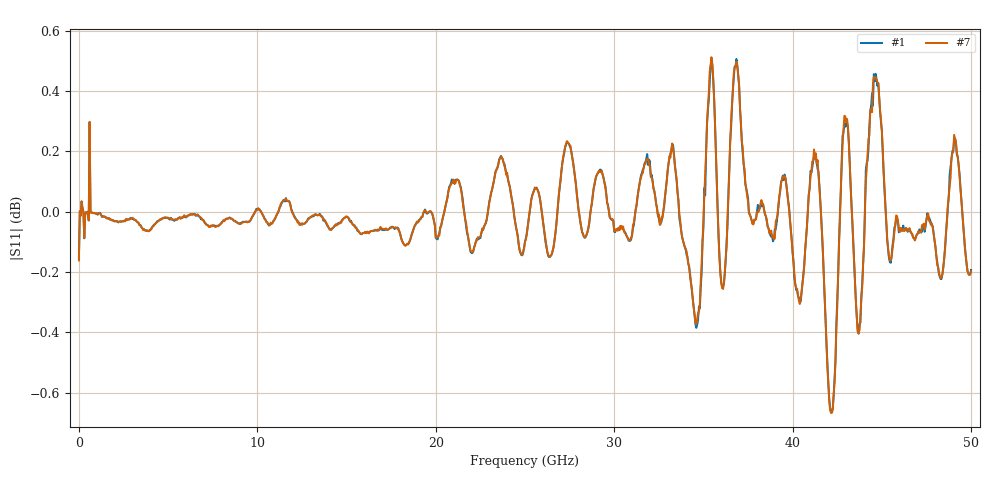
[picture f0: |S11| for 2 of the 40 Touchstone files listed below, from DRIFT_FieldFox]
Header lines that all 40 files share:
!Created with skrf (http://scikit-rf.org).
# Hz S RI R 50.0
!freq ReS11 ImS11
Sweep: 300 kHz to 50 GHz
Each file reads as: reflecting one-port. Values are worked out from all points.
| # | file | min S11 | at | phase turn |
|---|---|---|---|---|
| 1 | DRIFT1_t=53205s.s1p | -0.7 dB | 42.2 GHz | -818 deg |
| 2 | DRIFT1_t=53258s.s1p | -0.7 dB | 42.2 GHz | -818 deg |
| 3 | DRIFT1_t=53311s.s1p | -0.7 dB | 42.2 GHz | -818 deg |
| 4 | DRIFT1_t=53364s.s1p | -0.7 dB | 42.2 GHz | -818 deg |
| 5 | DRIFT1_t=53417s.s1p | -0.7 dB | 42.2 GHz | -818 deg |
| 6 | DRIFT1_t=53470s.s1p | -0.7 dB | 42.2 GHz | -818 deg |
| 7 | DRIFT1_t=53523s.s1p | -0.7 dB | 42.15 GHz | -818 deg |
| 8 | DRIFT1_t=53576s.s1p | -0.7 dB | 42.2 GHz | -818 deg |
| 9 | DRIFT1_t=53629s.s1p | -0.7 dB | 42.2 GHz | -818 deg |
| 10 | DRIFT1_t=53681s.s1p | -0.7 dB | 42.2 GHz | -818 deg |
| 11 | DRIFT1_t=53734s.s1p | -0.7 dB | 42.2 GHz | -818 deg |
| 12 | DRIFT1_t=53787s.s1p | -0.7 dB | 42.15 GHz | -818 deg |
| 13 | DRIFT1_t=53840s.s1p | -0.7 dB | 42.2 GHz | -818 deg |
| 14 | DRIFT1_t=53893s.s1p | -0.7 dB | 42.2 GHz | -818 deg |
| 15 | DRIFT1_t=53946s.s1p | -0.7 dB | 42.15 GHz | -818 deg |
| 16 | DRIFT1_t=53999s.s1p | -0.7 dB | 42.2 GHz | -818 deg |
| 17 | DRIFT1_t=54052s.s1p | -0.7 dB | 42.15 GHz | -818 deg |
| 18 | DRIFT1_t=54105s.s1p | -0.7 dB | 42.2 GHz | -818 deg |
| 19 | DRIFT1_t=54157s.s1p | -0.7 dB | 42.2 GHz | -818 deg |
| 20 | DRIFT1_t=54210s.s1p | -0.7 dB | 42.2 GHz | -818 deg |
| 21 | DRIFT1_t=54263s.s1p | -0.7 dB | 42.2 GHz | -818 deg |
| 22 | DRIFT1_t=54316s.s1p | -0.7 dB | 42.2 GHz | -818 deg |
| 23 | DRIFT1_t=54369s.s1p | -0.7 dB | 42.2 GHz | -818 deg |
| 24 | DRIFT1_t=54422s.s1p | -0.7 dB | 42.15 GHz | -818 deg |
| 25 | DRIFT1_t=54475s.s1p | -0.7 dB | 42.2 GHz | -818 deg |
| 26 | DRIFT1_t=54528s.s1p | -0.7 dB | 42.2 GHz | -818 deg |
| 27 | DRIFT1_t=54581s.s1p | -0.7 dB | 42.2 GHz | -818 deg |
| 28 | DRIFT1_t=54634s.s1p | -0.7 dB | 42.2 GHz | -818 deg |
| 29 | DRIFT1_t=54687s.s1p | -0.7 dB | 42.2 GHz | -818 deg |
| 30 | DRIFT1_t=54740s.s1p | -0.7 dB | 42.2 GHz | -818 deg |
| 31 | DRIFT1_t=54792s.s1p | -0.7 dB | 42.2 GHz | -818 deg |
| 32 | DRIFT1_t=54845s.s1p | -0.7 dB | 42.2 GHz | -818 deg |
| 33 | DRIFT1_t=54898s.s1p | -0.7 dB | 42.2 GHz | -818 deg |
| 34 | DRIFT1_t=54951s.s1p | -0.7 dB | 42.2 GHz | -818 deg |
| 35 | DRIFT1_t=55004s.s1p | -0.7 dB | 42.2 GHz | -818 deg |
| 36 | DRIFT1_t=55057s.s1p | -0.7 dB | 42.2 GHz | -818 deg |
| 37 | DRIFT1_t=55109s.s1p | -0.7 dB | 42.2 GHz | -818 deg |
| 38 | DRIFT1_t=55162s.s1p | -0.7 dB | 42.2 GHz | -818 deg |
| 39 | DRIFT1_t=55215s.s1p | -0.7 dB | 42.2 GHz | -818 deg |
| 40 | DRIFT1_t=55268s.s1p | -0.7 dB | 42.2 GHz | -818 deg |
